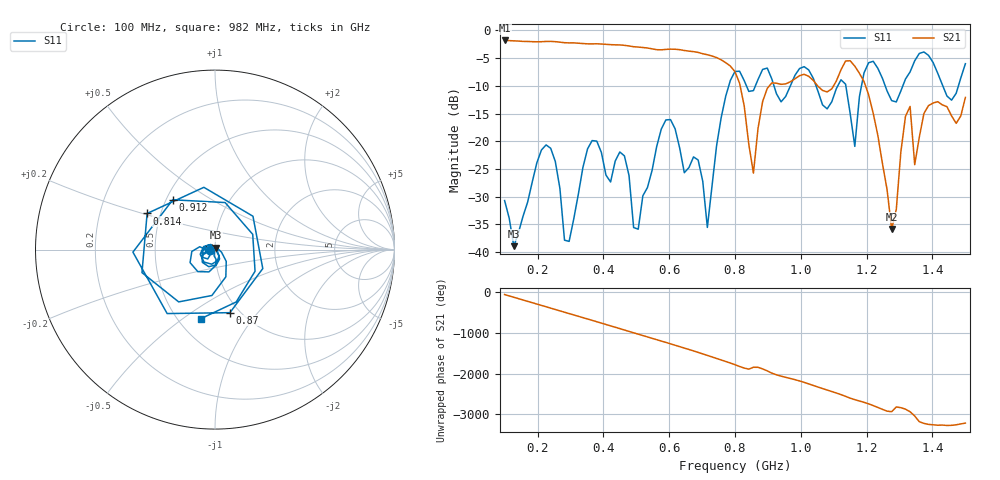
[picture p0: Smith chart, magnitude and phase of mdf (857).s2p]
! NanoVNA-App
! Date: 2025-09-25 15:45:05
! Start: 100MHz Stop: 1,5GHz Points: 101
! S-Parameter data: F S11 S21 S12 S22
# Hz S RI R 50
!  Frequency  S11_Real  S11_Imag  S21_Real  S21_Imag  S12_Real  S12_Imag  S22_Real  S22_Imag
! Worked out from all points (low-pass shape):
!   101 points, 100 MHz to 1.5 GHz, reference 50 ohm
!   highest |S21| = -1.80 dB at 100 MHz (marker M1); lowest = -35.8 dB at 1.276 GHz (marker M2)
!   |S21| within 3 dB of the highest: start of sweep to 739.3 MHz
!   lowest |S11| = -39.0 dB at 128 MHz (marker M3), VSWR 1.02, Z = 50.3 + j1.08 ohm
!   |S11| at or under -10 dB: start of sweep to 781.1 MHz; 918.4 MHz to 968.3 MHz (49.85 MHz wide, 5.28 % of centre); 1.046 GHz to 1.112 GHz (66.16 MHz wide, 6.13 % of centre) (the widest 3 of 7)
!   S12 and S22 are empty: the file has one direction only
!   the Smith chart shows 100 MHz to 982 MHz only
!   S11 on the Smith chart (normalised r, x): 100 MHz: 0.94, -0.01; 814 MHz: 0.42, +0.21; 870 MHz: 0.90, -0.73; 912 MHz: 0.54, +0.35; 982 MHz: 0.65, -0.59
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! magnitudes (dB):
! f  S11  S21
! 100 MHz  -30.7  -1.8
! 128 MHz  -39.0  -1.9
! 212 MHz  -21.6  -2.0
! 282 MHz  -37.9  -2.2
! 338 MHz  -24.7  -2.4
! 464 MHz  -22.7  -2.7
! 506 MHz  -35.9  -3.0
! 576 MHz  -17.8  -3.5
! 716 MHz  -35.6  -4.4
! 800 MHz  -7.4  -7.4
! 814 MHz  -7.4  -9.5
! 856 MHz  -10.9  -25.8
! 870 MHz  -8.8  -17.7
! 912 MHz  -8.8  -9.5
! 982 MHz  -8.1  -8.7
! 1.038 GHz  -8.7  -9.0
! 1.164 GHz  -20.9  -6.4
! 1.192 GHz  -7.7  -9.2
! 1.276 GHz  -12.7  -35.8
! 1.332 GHz  -7.5  -13.7
! 1.346 GHz  -5.5  -24.2
! 1.5 GHz  -6.0  -12.1
